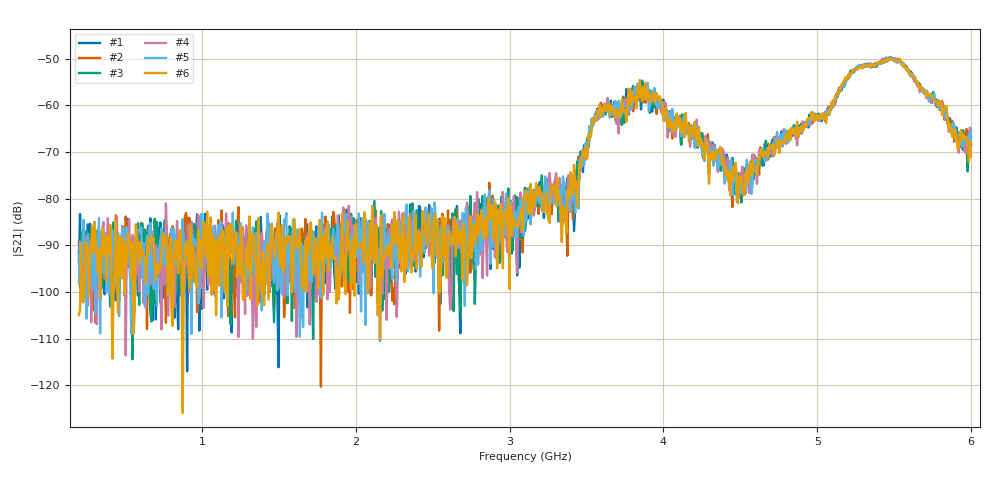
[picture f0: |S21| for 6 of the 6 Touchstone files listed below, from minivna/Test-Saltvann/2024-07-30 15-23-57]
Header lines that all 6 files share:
! NanoVNA-App by OneOfEleven et al v1.1.209 (+OD15)
! Start: 200MHz Stop: 6GHz Points: 801
! S-Parameter data: F S11 S21 S12 S22
# Hz S RI R 50
!  Frequency  S11_Real  S11_Imag  S21_Real  S21_Imag  S12_Real  S12_Imag  S22_Real  S22_Imag
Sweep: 200 MHz to 6 GHz
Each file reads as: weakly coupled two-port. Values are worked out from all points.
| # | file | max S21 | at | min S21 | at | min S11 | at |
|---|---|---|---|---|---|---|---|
| 1 | 1.s2p | -49.70 dB | 5.478 GHz | -117.0 dB | 903.2 MHz | -5.9 dB | 2.941 GHz |
| 2 | 2.s2p | -50.01 dB | 5.521 GHz | -120.3 dB | 1.773 GHz | -5.9 dB | 2.948 GHz |
| 3 | 4.s2p | -49.79 dB | 5.463 GHz | -114.4 dB | 548 MHz | -5.9 dB | 2.948 GHz |
| 4 | 6.s2p | -49.88 dB | 5.478 GHz | -113.6 dB | 504.5 MHz | -5.9 dB | 2.948 GHz |
| 5 | 8.s2p | -49.98 dB | 5.449 GHz | -110.5 dB | 2.158 GHz | -5.9 dB | 2.948 GHz |
| 6 | 9.s2p | -49.89 dB | 5.456 GHz | -125.9 dB | 874.2 MHz | -5.9 dB | 2.948 GHz |
